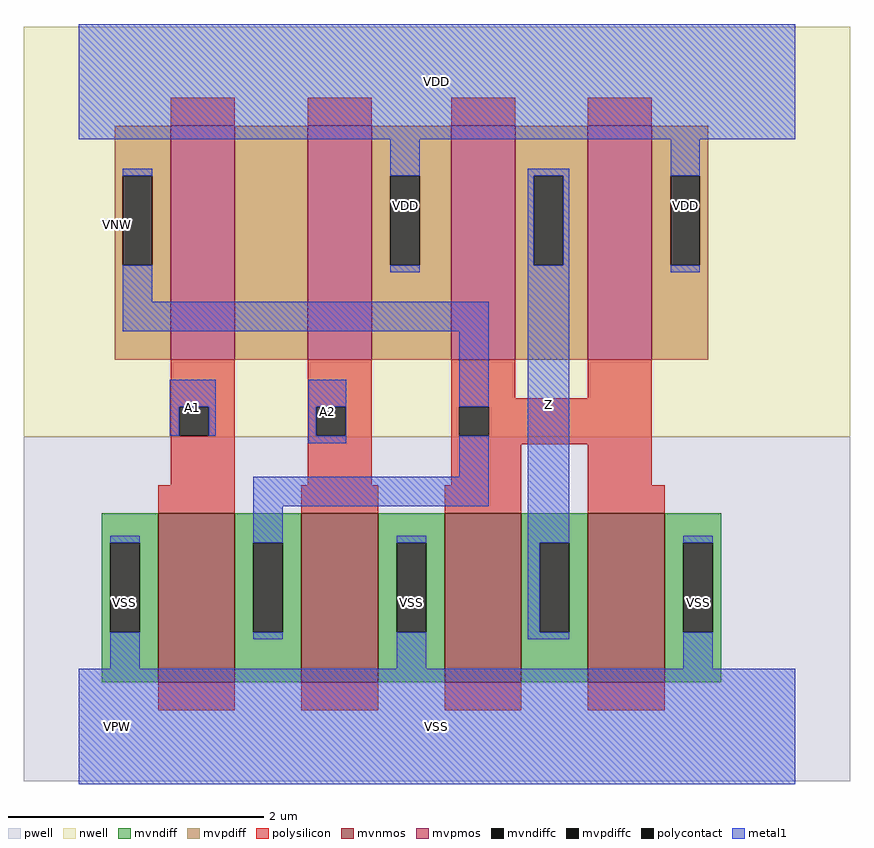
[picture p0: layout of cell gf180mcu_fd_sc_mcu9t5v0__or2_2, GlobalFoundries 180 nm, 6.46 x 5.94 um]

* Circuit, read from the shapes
.subckt gf180mcu_fd_sc_mcu9t5v0__or2_2 A1 A2 Z VDD VNW VPW VSS
XM1 n1 A1 VSS VPW nfet_06v0 w=1.32u l=0.6u
XM2 VSS A2 n1 VPW nfet_06v0 w=1.32u l=0.6u
XM3 Z n1 VSS VPW nfet_06v0 w=1.32u l=0.6u m=2
XM4 n2 A1 n1 VNW pfet_06v0 w=1.83u l=0.5u
XM5 VDD A2 n2 VNW pfet_06v0 w=1.83u l=0.5u
XM6 Z n1 VDD VNW pfet_06v0 w=1.83u l=0.5u m=2
.ends

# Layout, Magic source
magic
tech gf180mcuD
magscale 1 10
<< nwell >>
rect -86 453 1206 1094
<< pwell >>
rect -86 -86 1206 453
<< mvnmos >>
rect 124 69 244 333
rect 348 69 468 333
rect 572 69 692 333
rect 796 69 916 333
<< mvpmos >>
rect 144 573 244 939
rect 358 573 458 939
rect 582 573 682 939
rect 796 573 896 939
<< mvndiff >>
rect 36 287 124 333
rect 36 147 49 287
rect 95 147 124 287
rect 36 69 124 147
rect 244 287 348 333
rect 244 147 273 287
rect 319 147 348 287
rect 244 69 348 147
rect 468 287 572 333
rect 468 147 497 287
rect 543 147 572 287
rect 468 69 572 147
rect 692 287 796 333
rect 692 147 721 287
rect 767 147 796 287
rect 692 69 796 147
rect 916 287 1004 333
rect 916 147 945 287
rect 991 147 1004 287
rect 916 69 1004 147
<< mvpdiff >>
rect 56 861 144 939
rect 56 721 69 861
rect 115 721 144 861
rect 56 573 144 721
rect 244 573 358 939
rect 458 861 582 939
rect 458 721 487 861
rect 533 721 582 861
rect 458 573 582 721
rect 682 861 796 939
rect 682 721 711 861
rect 757 721 796 861
rect 682 573 796 721
rect 896 861 984 939
rect 896 721 925 861
rect 971 721 984 861
rect 896 573 984 721
<< mvndiffc >>
rect 49 147 95 287
rect 273 147 319 287
rect 497 147 543 287
rect 721 147 767 287
rect 945 147 991 287
<< mvpdiffc >>
rect 69 721 115 861
rect 487 721 533 861
rect 711 721 757 861
rect 925 721 971 861
<< polysilicon >>
rect 144 939 244 983
rect 358 939 458 983
rect 582 939 682 983
rect 796 939 896 983
rect 144 500 244 573
rect 144 454 157 500
rect 203 454 244 500
rect 144 377 244 454
rect 358 500 458 573
rect 358 454 371 500
rect 417 454 458 500
rect 358 377 458 454
rect 582 513 682 573
rect 796 513 896 573
rect 582 500 896 513
rect 582 454 595 500
rect 641 454 896 500
rect 582 441 896 454
rect 582 377 692 441
rect 124 333 244 377
rect 348 333 468 377
rect 572 333 692 377
rect 796 377 896 441
rect 796 333 916 377
rect 124 25 244 69
rect 348 25 468 69
rect 572 25 692 69
rect 796 25 916 69
<< polycontact >>
rect 157 454 203 500
rect 371 454 417 500
rect 595 454 641 500
<< metal1 >>
rect 0 918 1120 1098
rect 69 861 115 872
rect 69 664 115 721
rect 487 861 533 918
rect 487 710 533 721
rect 702 861 767 872
rect 702 721 711 861
rect 757 721 767 861
rect 69 618 641 664
rect 142 500 214 542
rect 142 454 157 500
rect 203 454 214 500
rect 359 500 418 542
rect 359 454 371 500
rect 417 454 418 500
rect 359 443 418 454
rect 595 500 641 618
rect 595 390 641 454
rect 273 344 641 390
rect 49 287 95 298
rect 49 90 95 147
rect 273 287 319 344
rect 273 136 319 147
rect 497 287 543 298
rect 497 90 543 147
rect 702 287 767 721
rect 925 861 971 918
rect 925 710 971 721
rect 702 147 721 287
rect 702 136 767 147
rect 945 287 991 298
rect 945 90 991 147
rect 0 -90 1120 90
<< labels >>
flabel metal1 s 142 454 214 542 0 FreeSans 200 0 0 0 A1
port 1 nsew default input
flabel metal1 s 359 443 418 542 0 FreeSans 200 0 0 0 A2
port 2 nsew default input
flabel metal1 s 0 918 1120 1098 0 FreeSans 200 0 0 0 VDD
port 4 nsew power bidirectional abutment
flabel metal1 s 945 90 991 298 0 FreeSans 200 0 0 0 VSS
port 7 nsew ground bidirectional abutment
flabel metal1 s 702 136 767 872 0 FreeSans 200 0 0 0 Z
port 3 nsew default output
flabel nwell s 10 734 110 834 0 FreeSans 400 0 0 0 VNW
port 5 nsew power bidirectional
flabel pwell s 10 -50 110 50 0 FreeSans 400 0 0 0 VPW
port 6 nsew ground bidirectional
rlabel metal1 s 925 710 971 918 1 VDD
port 4 nsew power bidirectional abutment
rlabel metal1 s 487 710 533 918 1 VDD
port 4 nsew power bidirectional abutment
rlabel metal1 s 497 90 543 298 1 VSS
port 7 nsew ground bidirectional abutment
rlabel metal1 s 49 90 95 298 1 VSS
port 7 nsew ground bidirectional abutment
rlabel metal1 s 0 -90 1120 90 1 VSS
port 7 nsew ground bidirectional abutment
<< properties >>
string FIXED_BBOX 0 0 1120 1008
string GDS_END 269876
string GDS_FILE $PDKPATH/libs.ref/gf180mcu_fd_sc_mcu9t5v0/gds/gf180mcu_fd_sc_mcu9t5v0.gds
string GDS_START 266240
string LEFclass core
string LEFsite GF018hv5v_green_sc9
string LEFsymmetry X Y
<< end >>
